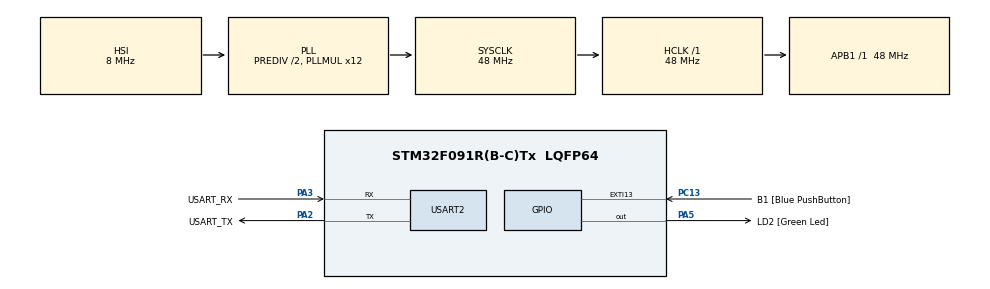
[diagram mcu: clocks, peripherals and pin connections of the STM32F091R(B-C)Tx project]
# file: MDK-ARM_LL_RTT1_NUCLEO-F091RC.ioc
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Mcu.Family=STM32F0
Mcu.Name=STM32F091R(B-C)Tx
Mcu.Package=LQFP64
PA13.GPIO_Label=TMS
PA13.Mode=Serial_Wire
PA13.Signal=SYS_SWDIO
PA14.GPIO_Label=TCK
PA14.Mode=Serial_Wire
PA14.Signal=SYS_SWCLK
PA2.GPIO_Label=USART_TX
PA2.GPIO_Mode=GPIO_MODE_AF_PP
PA2.GPIO_PuPd=GPIO_NOPULL
PA2.GPIO_Speed=GPIO_SPEED_FREQ_LOW
PA2.Mode=Asynchronous
PA2.Signal=USART2_TX
PA3.GPIO_Label=USART_RX
PA3.GPIO_Mode=GPIO_MODE_AF_PP
PA3.GPIO_PuPd=GPIO_NOPULL
PA3.GPIO_Speed=GPIO_SPEED_FREQ_LOW
PA3.Mode=Asynchronous
PA3.Signal=USART2_RX
PA5.GPIO_Label=LD2 [Green Led]
PA5.GPIO_Mode=GPIO_MODE_OUTPUT_PP
PA5.GPIO_PuPd=GPIO_NOPULL
PA5.GPIO_Speed=GPIO_SPEED_FREQ_LOW
PA5.Signal=GPIO_Output
PC13.GPIO_Label=B1 [Blue PushButton]
PC13.GPIO_ModeDefaultEXTI=GPIO_MODE_IT_FALLING
PC13.Signal=GPXTI13
PC14OSC32_IN.Mode=LSE-External-Oscillator
PC14OSC32_IN.Signal=RCC_OSC32_IN
PC15OSC32_OUT.Mode=LSE-External-Oscillator
PC15OSC32_OUT.Signal=RCC_OSC32_OUT
PF0-OSC_IN.Mode=HSE-External-Clock-Source
PF0-OSC_IN.Signal=RCC_OSC_IN
PF1-OSC_OUT.Signal=RCC_OSC_OUT
ProjectManager.HeapSize=0x200
ProjectManager.StackSize=0x400
ProjectManager.TargetToolchain=MDK-ARM V5.27
RCC.AHBFreq_Value=48000000
RCC.APB1Freq_Value=48000000
RCC.APB1TimFreq_Value=48000000
RCC.FLatency-AdvancedSettings=FLASH_LATENCY_1
RCC.HCLKFreq_Value=48000000
RCC.PLLDivider=RCC_PREDIV_DIV2
RCC.PLLMUL=RCC_PLL_MUL12
RCC.PREFETCH_ENABLE-AdvancedSettings=1
RCC.SYSCLKFreq_VALUE=48000000
RCC.SYSCLKSource=RCC_SYSCLKSOURCE_PLLCLK
USART2.VirtualMode=VM_ASYNC
USART2.VirtualMode-Asynchronous=VM_ASYNC
board=NUCLEO-F091RC

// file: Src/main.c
/* USER CODE BEGIN Header */
/**
  ******************************************************************************
  * @file           : main.c
  * @brief          : Main program body
  ******************************************************************************
  * @attention
  *
  * <h2><center>&copy; Copyright (c) 2020 STMicroelectronics.
  * All rights reserved.</center></h2>
  *
  * This software component is licensed by ST under BSD 3-Clause license,
  * the "License"; You may not use this file except in compliance with the
  * License. You may obtain a copy of the License at:
  *                        opensource.org/licenses/BSD-3-Clause
  *
  ******************************************************************************
  */
/* USER CODE END Header */

#include "main.h"

/* USER CODE BEGIN Includes */
#include "trice.h"
/* USER CODE END Includes */

UART_HandleTypeDef huart2;

void SystemClock_Config(void);
static void MX_GPIO_Init(void);
static void MX_USART2_UART_Init(void);

int main(void)
{

  /* MCU Configuration--------------------------------------------------------*/

  /* Reset of all peripherals, Initializes the Flash interface and the Systick. */
  HAL_Init();

  /* Configure the system clock */
  SystemClock_Config();

  /* Initialize all configured peripherals */
  MX_GPIO_Init();
  MX_USART2_UART_Init();

  /* Infinite loop */
  /* USER CODE BEGIN WHILE */
    TRICE_SYNC;
    TRICE16_1( Id(59798), "tim:timing      message, SysTick is %6d\n", SYSTICKVAL16 );
    TRICE0( Id(24602), "att:MDK-ARM_RTT1_NUCLEO-F091RC\n" );
    TRICE16_1( Id(31706), "tim:timing      message, SysTick is %6d\n", SYSTICKVAL16 );
    TRICE16_1( Id(11695), "tim:timing      message, SysTick is %6d\n", SYSTICKVAL16 );
    TRICE16_1( Id(48026), "tim:timing      message, SysTick is %6d\n", SYSTICKVAL16 );
    TRICE16_1( Id(24975), "tim:timing      message, SysTick is %6d\n", SYSTICKVAL16 );
  while (1)
  {
      //////////////////////////////////////////////////
      // demo trices
      //
      static uint32_t ms_1 = 0;
      uint32_t ms = HAL_GetTick();
      if( ms >= ms_1 + 1000 ){ // every sec
          TRICE_SYNC; // for re-synchronisation the running target
          static int index = 0;
          triceCheckSet(index++%20);
          TRICE32_1( Id(52631), "time:ms = %d\n", ms );
          ms_1 = ms;
      }
      //
      //////////////////////////////////////////////////
    /* USER CODE END WHILE */

  }
}

void SystemClock_Config(void)
{
  RCC_OscInitTypeDef RCC_OscInitStruct = {0};
  RCC_ClkInitTypeDef RCC_ClkInitStruct = {0};
  RCC_PeriphCLKInitTypeDef PeriphClkInit = {0};

  /** Initializes the CPU, AHB and APB busses clocks
  */
  RCC_OscInitStruct.OscillatorType = RCC_OSCILLATORTYPE_HSI;
  RCC_OscInitStruct.HSIState = RCC_HSI_ON;
  RCC_OscInitStruct.HSICalibrationValue = RCC_HSICALIBRATION_DEFAULT;
  RCC_OscInitStruct.PLL.PLLState = RCC_PLL_ON;
  RCC_OscInitStruct.PLL.PLLSource = RCC_PLLSOURCE_HSI;
  RCC_OscInitStruct.PLL.PLLMUL = RCC_PLL_MUL12;
  RCC_OscInitStruct.PLL.PREDIV = RCC_PREDIV_DIV2;
  if (HAL_RCC_OscConfig(&RCC_OscInitStruct) != HAL_OK)
  {
    Error_Handler();
  }
  /** Initializes the CPU, AHB and APB busses clocks
  */
  RCC_ClkInitStruct.ClockType = RCC_CLOCKTYPE_HCLK|RCC_CLOCKTYPE_SYSCLK
                              |RCC_CLOCKTYPE_PCLK1;
  RCC_ClkInitStruct.SYSCLKSource = RCC_SYSCLKSOURCE_PLLCLK;
  RCC_ClkInitStruct.AHBCLKDivider = RCC_SYSCLK_DIV1;
  RCC_ClkInitStruct.APB1CLKDivider = RCC_HCLK_DIV1;

  if (HAL_RCC_ClockConfig(&RCC_ClkInitStruct, FLASH_LATENCY_1) != HAL_OK)
  {
    Error_Handler();
  }
  PeriphClkInit.PeriphClockSelection = RCC_PERIPHCLK_USART2;
  PeriphClkInit.Usart2ClockSelection = RCC_USART2CLKSOURCE_PCLK1;
  if (HAL_RCCEx_PeriphCLKConfig(&PeriphClkInit) != HAL_OK)
  {
    Error_Handler();
  }
}

static void MX_USART2_UART_Init(void)
{

  huart2.Instance = USART2;
  huart2.Init.BaudRate = 115200;
  huart2.Init.WordLength = UART_WORDLENGTH_8B;
  huart2.Init.StopBits = UART_STOPBITS_1;
  huart2.Init.Parity = UART_PARITY_NONE;
  huart2.Init.Mode = UART_MODE_TX_RX;
  huart2.Init.HwFlowCtl = UART_HWCONTROL_NONE;
  huart2.Init.OverSampling = UART_OVERSAMPLING_16;
  huart2.Init.OneBitSampling = UART_ONE_BIT_SAMPLE_DISABLE;
  huart2.AdvancedInit.AdvFeatureInit = UART_ADVFEATURE_NO_INIT;
  if (HAL_UART_Init(&huart2) != HAL_OK)
  {
    Error_Handler();
  }

}

static void MX_GPIO_Init(void)
{
  GPIO_InitTypeDef GPIO_InitStruct = {0};

  /* GPIO Ports Clock Enable */
  __HAL_RCC_GPIOC_CLK_ENABLE();
  __HAL_RCC_GPIOF_CLK_ENABLE();
  __HAL_RCC_GPIOA_CLK_ENABLE();

  /*Configure GPIO pin Output Level */
  HAL_GPIO_WritePin(LD2_GPIO_Port, LD2_Pin, GPIO_PIN_RESET);

  /*Configure GPIO pin : B1_Pin */
  GPIO_InitStruct.Pin = B1_Pin;
  GPIO_InitStruct.Mode = GPIO_MODE_IT_FALLING;
  GPIO_InitStruct.Pull = GPIO_NOPULL;
  HAL_GPIO_Init(B1_GPIO_Port, &GPIO_InitStruct);

  /*Configure GPIO pin : LD2_Pin */
  GPIO_InitStruct.Pin = LD2_Pin;
  GPIO_InitStruct.Mode = GPIO_MODE_OUTPUT_PP;
  GPIO_InitStruct.Pull = GPIO_NOPULL;
  GPIO_InitStruct.Speed = GPIO_SPEED_FREQ_LOW;
  HAL_GPIO_Init(LD2_GPIO_Port, &GPIO_InitStruct);

}

void Error_Handler(void)
{
}

/************************ (C) COPYRIGHT STMicroelectronics *****END OF FILE****/
